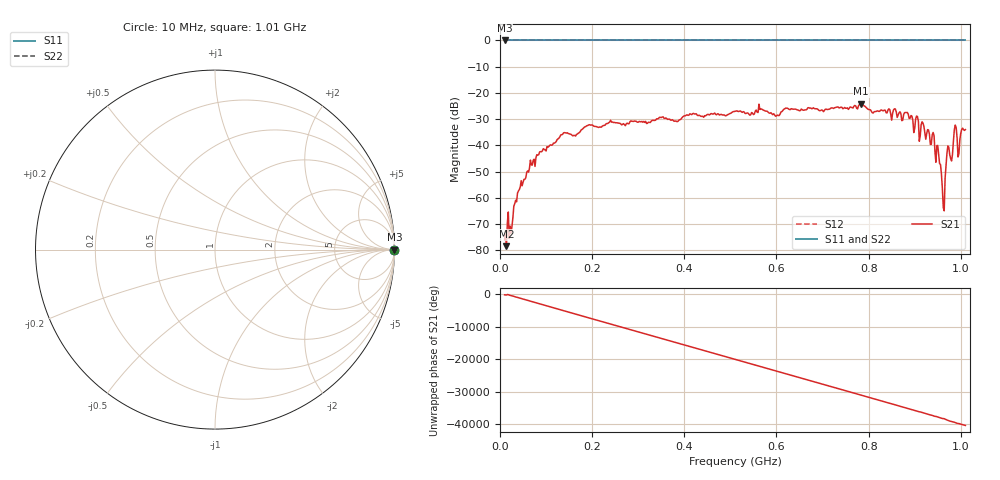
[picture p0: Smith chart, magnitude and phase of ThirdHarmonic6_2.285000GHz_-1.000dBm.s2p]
! 8/17/2025 2:59:38 AM
! C:\ANRITSUVNA\TEMP\TEMP.S2P
! CHANNEL.1
! TR.MEASUREMENT
! RAW.DATA
! RF.CORRECTION.OFF
! AVERAGING.OFF
! IF.BANDWIDTH: 5KHZ
! SWEEPTYPE:  FREQ.SWEEP(Linear)
! Reference Plane Port Info
! PORT:  PORT1  PORT2
! DISTANCE:  0  m  0  m
! TIME:  0  s  0  s
! PHASE.OFFSET:  0  deg.  0  deg.
! LOSS:  0  dB  0  dB
! REF.LOSS:  0  dB  0  dB
! REF.FREQ:  0  Hz  0  Hz
! Power Info
! POWER:  -20  dBm  -20  dBm
! EFF.POWER:  -20  dBm  -20  dBm
! SOURCE.ATTEN:  0  dB  0  dB
! TEST.ATTEN:  0  dB  0  dB
# GHZ S RI R 50.0
! FREQ.GHZ  S11RE  S11IM  S21RE  S21IM  S12RE  S12IM  S22RE  S22IM
!; PortSelection: Port_12
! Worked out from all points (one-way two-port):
!   501 points, 10 MHz to 1.01 GHz, reference 50 ohm
!   highest |S21| = -24.14 dB at 784 MHz (marker M1); lowest = -78.4 dB at 14 MHz (marker M2)
!   lowest |S11| = 0.0 dB at 10 MHz (marker M3)
!   |S11| at or under -10 dB: nowhere
!   |S22| runs from 0.0 to 0.0 dB; largest |S21 - S12| = 1.1
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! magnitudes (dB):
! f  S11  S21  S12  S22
! 10 MHz  0.0  -76.0  0.0  0.0
! 14 MHz  0.0  -78.4  0.0  0.0
! 24 MHz  0.0  -73.5  0.0  0.0
! 42 MHz  0.0  -56.8  0.0  0.0
! 70 MHz  0.0  -47.5  0.0  0.0
! 136 MHz  0.0  -35.7  0.0  0.0
! 178 MHz  0.0  -33.9  0.0  0.0
! 344 MHz  0.0  -29.7  0.0  0.0
! 510 MHz  0.0  -27.0  0.0  0.0
! 678 MHz  0.0  -26.0  0.0  0.0
! 784 MHz  0.0  -24.1  0.0  0.0
! 844 MHz  0.0  -26.0  0.0  0.0
! 882 MHz  0.0  -27.5  0.0  0.0
! 938 MHz  0.0  -35.9  0.0  0.0
! 952 MHz  0.0  -43.4  0.0  0.0
! 962 MHz  0.0  -63.7  0.0  0.0
! 966 MHz  0.0  -52.4  0.0  0.0
! 972 MHz  0.0  -40.2  0.0  0.0
! 980 MHz  0.0  -45.9  0.0  0.0
! 988 MHz  0.0  -32.3  0.0  0.0
! 996 MHz  0.0  -43.1  0.0  0.0
! 1.01 GHz  0.0  -34.0  0.0  0.0
